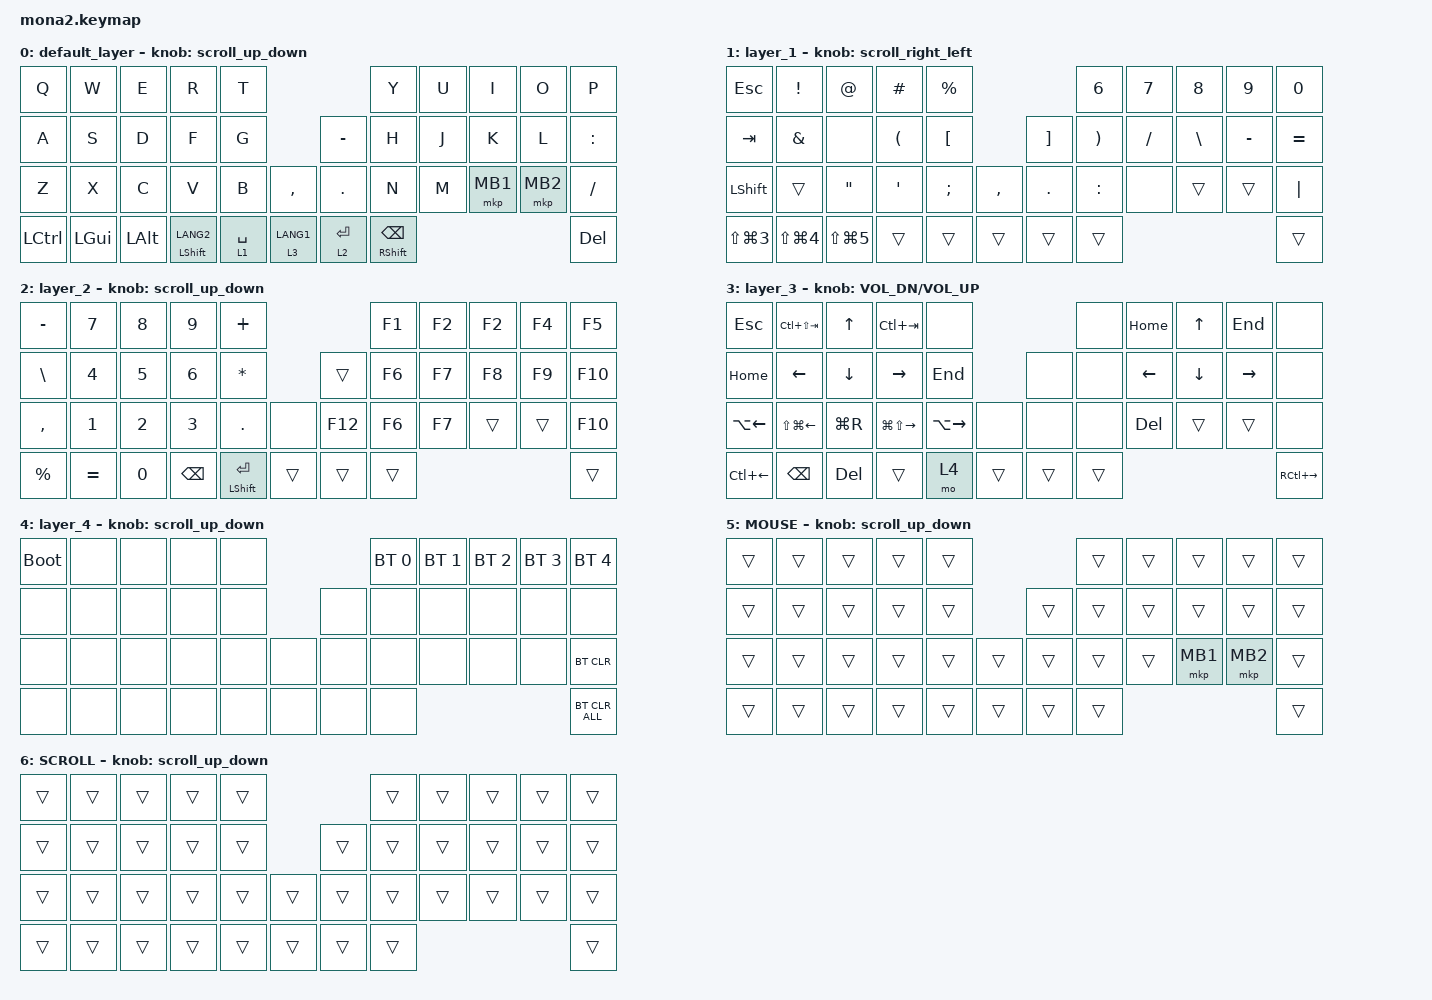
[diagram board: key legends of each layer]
#include <input/processors.dtsi>
#include <dt-bindings/zmk/input_transform.h>
#include <zephyr/dt-bindings/input/input-event-codes.h>
#include <behaviors.dtsi>
#include <dt-bindings/zmk/bt.h>
#include <dt-bindings/zmk/keys.h>
#include <dt-bindings/zmk/pointing.h>

#define ZMK_POINTING_DEFAULT_SCRL_VAL 100
#define MOUSE 5
#define SCROLL 6

&mt {
    flavor = "balanced";
    quick-tap-ms = <0>;
};

&lt {
    quick-tap-ms = <300>;
    flavor = "balanced";
};

/ {
    combos {
        compatible = "zmk,combos";

        scroll {
            bindings = <&mo 6>;
            key-positions = <30 31>;
        };
    };

    macros {
        to_layer_0: to_layer_0 {
            compatible = "zmk,behavior-macro-one-param";
            #binding-cells = <1>;
            bindings = <&to 0 &macro_param_1to1 &kp MACRO_PLACEHOLDER>;
            label = "TO_LAYER_0";
        };
    };

    behaviors {
        lt_to_layer_0: lt_to_layer_0 {
            compatible = "zmk,behavior-hold-tap";
            label = "LAYER_TAP_TO_0";
            bindings = <&mo>, <&to_layer_0>;

            #binding-cells = <2>;
            tapping-term-ms = <200>;
        };

        scroll_up_down: mouse_wheel_up_down {
            compatible = "zmk,behavior-sensor-rotate";
            #sensor-binding-cells = <0>;
            bindings = <&msc SCRL_DOWN>, <&msc SCRL_UP>;

            tap-ms = <20>;
        };

        scroll_right_left: mouse_wheel_right_left {
            compatible = "zmk,behavior-sensor-rotate";
            #sensor-binding-cells = <0>;
            bindings = <&msc SCRL_LEFT>, <&msc SCRL_RIGHT>;

            tap-ms = <20>;
        };
    };

    keymap {
        compatible = "zmk,keymap";

        default_layer {
            bindings = <
&kp Q             &kp W     &kp E         &kp R                 &kp T                                    &kp Y                 &kp U  &kp I     &kp O     &kp P
&kp A             &kp S     &kp D         &kp F                 &kp G                       &kp MINUS    &kp H                 &kp J  &kp K     &kp L     &kp COLON
&kp Z             &kp X     &kp C         &kp V                 &kp B        &kp COMMA      &kp PERIOD   &kp N                 &kp M  &mkp MB1  &mkp MB2  &kp SLASH
&kp LEFT_CONTROL  &kp LGUI  &kp LEFT_ALT  &mt LEFT_SHIFT LANG2  &lt 1 SPACE  &lt 3 LANG1    &lt 2 ENTER  &mt RSHIFT BACKSPACE                             &kp DEL
            >;

            sensor-bindings = <&scroll_up_down>;
        };

        layer_1 {
            bindings = <
&kp ESC               &kp EXCL              &kp AT             &kp HASH              &kp PERCENT                           &kp NUMBER_6           &kp NUMBER_7  &kp NUMBER_8   &kp NUMBER_9  &kp NUMBER_0
&kp TAB               &kp AMPERSAND         &none              &kp LEFT_PARENTHESIS  &kp LBKT                  &kp RBKT    &kp RIGHT_PARENTHESIS  &kp SLASH     &kp BACKSLASH  &kp MINUS     &kp EQUAL
&kp LSHFT             &trans                &kp DOUBLE_QUOTES  &kp APOS              &kp SEMI     &kp COMMA    &kp PERIOD  &kp COLON              &none         &trans         &trans        &kp PIPE
&kp LS(LG(NUMBER_3))  &kp LS(LG(NUMBER_4))  &kp LS(LG(N5))     &trans                &trans       &trans       &trans      &trans                                                            &trans
            >;

            sensor-bindings = <&scroll_right_left>;
        };

        layer_2 {
            bindings = <
&kp MINUS    &kp N7     &kp N8  &kp N9    &kp PLUS                                 &kp F1  &kp F2  &kp F2  &kp F4  &kp F5
&kp BSLH     &kp N4     &kp N5  &kp N6    &kp STAR                        &trans   &kp F6  &kp F7  &kp F8  &kp F9  &kp F10
&kp COMMA    &kp N1     &kp N2  &kp N3    &kp DOT               &none     &kp F12  &kp F6  &kp F7  &trans  &trans  &kp F10
&kp PERCENT  &kp EQUAL  &kp N0  &kp BSPC  &mt LEFT_SHIFT ENTER  &trans    &trans   &trans                          &trans
            >;

            sensor-bindings = <&scroll_up_down>;
        };

        layer_3 {
            bindings = <
&kp ESC       &kp LC(LS(TAB))   &kp UP_ARROW  &kp LC(TAB)              &none                            &none   &kp HOME        &kp UP_ARROW    &kp END          &none
&kp HOME      &kp LEFT          &kp DOWN      &kp RIGHT                &kp END                  &none   &none   &kp LEFT_ARROW  &kp DOWN_ARROW  &kp RIGHT_ARROW  &none
&kp LA(LEFT)  &kp LS(LG(LEFT))  &kp LG(R)     &kp LG(LS(RIGHT_ARROW))  &kp LA(RIGHT)  &none     &none   &none   &kp DELETE      &trans          &trans           &none
&kp LC(LEFT)  &kp BSPC          &kp DEL       &trans                   &mo 4          &trans    &trans  &trans                                                   &kp RC(RIGHT)
            >;

            sensor-bindings = <&inc_dec_kp C_VOL_DN C_VOL_UP>;
        };

        layer_4 {
            bindings = <
&bootloader  &none  &none  &none  &none                  &bt BT_SEL 0  &bt BT_SEL 1  &bt BT_SEL 2  &bt BT_SEL 3  &bt BT_SEL 4
&none        &none  &none  &none  &none           &none  &none         &none         &none         &none         &none
&none        &none  &none  &none  &none  &none    &none  &none         &none         &none         &none         &bt BT_CLR
&none        &none  &none  &none  &none  &none    &none  &none                                                   &bt BT_CLR_ALL
            >;

            sensor-bindings = <&scroll_up_down>;
        };

        MOUSE {
            bindings = <
&trans  &trans  &trans  &trans  &trans                    &trans  &trans  &trans    &trans    &trans
&trans  &trans  &trans  &trans  &trans            &trans  &trans  &trans  &trans    &trans    &trans
&trans  &trans  &trans  &trans  &trans  &trans    &trans  &trans  &trans  &mkp MB1  &mkp MB2  &trans
&trans  &trans  &trans  &trans  &trans  &trans    &trans  &trans                              &trans
            >;

            sensor-bindings = <&scroll_up_down>;
        };

        SCROLL {
            bindings = <
&trans  &trans  &trans  &trans  &trans                    &trans  &trans  &trans  &trans  &trans
&trans  &trans  &trans  &trans  &trans            &trans  &trans  &trans  &trans  &trans  &trans
&trans  &trans  &trans  &trans  &trans  &trans    &trans  &trans  &trans  &trans  &trans  &trans
&trans  &trans  &trans  &trans  &trans  &trans    &trans  &trans                          &trans
            >;

            sensor-bindings = <&scroll_up_down>;
        };
    };
};
